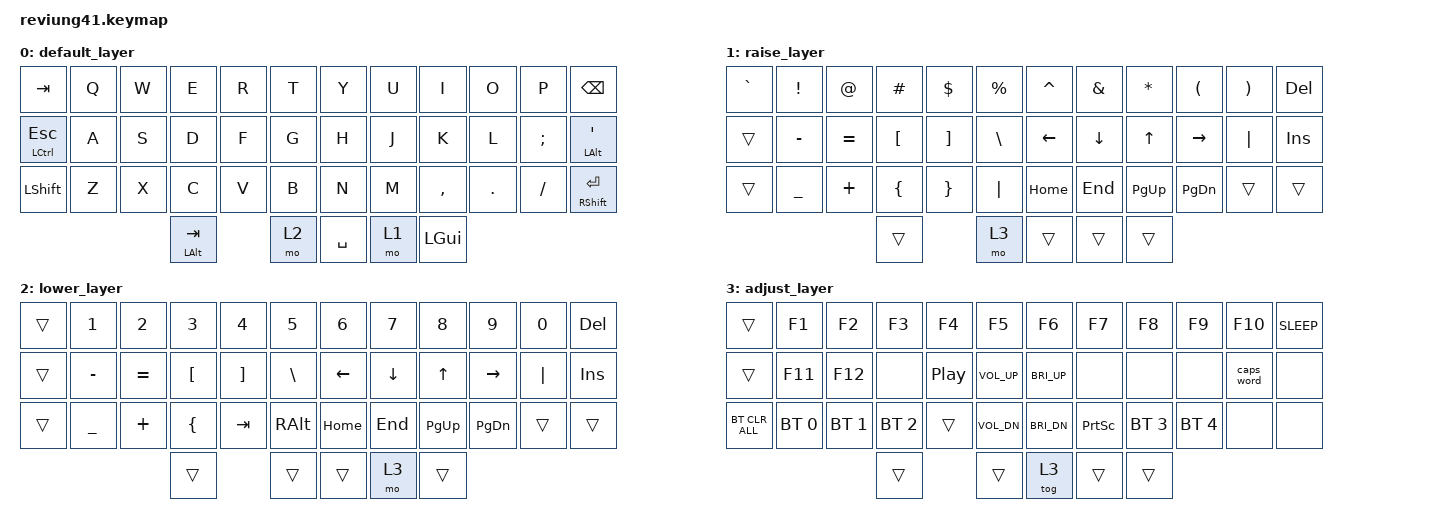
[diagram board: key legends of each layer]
/*
 * Copyright (c) 2020 The ZMK Contributors
 *
 * SPDX-License-Identifier: MIT
 */

#include <behaviors.dtsi>
#include <dt-bindings/zmk/keys.h>
#include <dt-bindings/zmk/bt.h>
#include <dt-bindings/zmk/rgb.h>

/ {

    behaviors {
        hm: balanced_homerow_mods {
            compatible = "zmk,behavior-hold-tap";
            label = "HOMEROW_MODS";
            #binding-cells = <2>;
            tapping-term-ms = <200>;    // <---[[moderate duration]]
            quick-tap-ms = <200>;
            flavor = "balanced";
            bindings = <&kp>, <&kp>;
        };
    };

    keymap {
                compatible = "zmk,keymap";

                default_layer {
// --------------------------------------   --------------------------------------------
// |  TAB |  Q  |  W  |  E  |  R  |  T  |   |  Y  |  U   |  I  |  O  |  P  |   BKSP    |
// | CTRL |  A  |  S  |  D  |  F  |  G  |   |  H  |  J   |  K  |  L  |  ;  |   ALT(')  |
// | SHFT |  Z  |  X  |  C  |  V  |  B  |   |  N  |  M   |  ,  |  .  |  /  | SHFT(RET) |
//                         | ALT(TAB) | LWR | SPC | RSE  | GUI |
                        bindings = <
   &kp TAB   &kp Q &kp W &kp E &kp R &kp T   &kp Y &kp U  &kp I     &kp O   &kp P    &kp BSPC
&mt LCTL ESC &kp A &kp S &kp D &kp F &kp G   &kp H &kp J  &kp K     &kp L   &kp SEMI &mt LALT SQT
   &kp LSHFT &kp Z &kp X &kp C &kp V &kp B   &kp N &kp M  &kp COMMA &kp DOT &kp FSLH &mt RSHFT RET
                        &mt LALT TAB  &mo 2 &kp SPACE &mo 1 &kp LGUI
                        >;
                };

                raise_layer {
// -------------------------------------   --------------------------------------------
// |  `  |  !  |  @  |  #  |  $  |  %  |   |  ^  |  &  |  *  |  (  |  )  |      DEL    |
// |CTRL |  -  |  =  |  [  |  ]  |  \  |   | LFT | DWN |  UP | RGT |     |      INS    |
// |SHFT |  _  |  +  |  {  |  }  | "|" |   | HOME| END | PGUP| PGDN|     |             |
//                       |     |     |    | ADJ |     |
                        bindings = <
&kp GRAVE &kp EXCL  &kp AT      &kp HASH &kp DLLR &kp PRCNT      &kp CARET &kp AMPS &kp ASTRK &kp LPAR  &kp RPAR  &kp DEL
   &trans &kp MINUS &kp EQUAL   &kp LBKT &kp RBKT &kp BSLH       &kp LEFT  &kp DOWN &kp UP    &kp RIGHT &kp PIPE  &kp INS
   &trans &kp UNDER &kp PLUS    &kp LBRC &kp RBRC &kp PIPE       &kp HOME  &kp END  &kp PG_UP &kp PG_DN &trans    &trans
                                 &trans      &mo 3     &trans      &trans     &trans
                        >;
                };


                lower_layer {
// ------------------------------------   ------------------------------------
// |    |  1  |  2  |  3  |  4  |  5  |   |  6  |  7  |  8  |  9  |  0  | DEL |
// |    |  -  |  =  |  [  |  ]  |  \  |   | LFT | DWN |  UP | RGT |     | INS |
// |    |  _  |  +  |  {  | TAB |RALT |   | HOME| END | PGUP| PGDN|     |     |
//                       |     | ADJ |     |    |     |
                        bindings = <
   &trans &kp N1    &kp N2    &kp N3    &kp N4    &kp N5        &kp N6    &kp N7    &kp N8    &kp N9    &kp N0    &kp DEL
   &trans &kp MINUS &kp EQUAL &kp LBKT  &kp RBKT  &kp BSLH      &kp LEFT  &kp DOWN  &kp UP    &kp RIGHT &kp PIPE  &kp INS
   &trans &kp UNDER &kp PLUS  &kp LBRC  &kp TAB   &kp RALT      &kp HOME  &kp END   &kp PG_UP &kp PG_DN &trans    &trans
                                &trans    &trans    &trans     &mo 3      &trans
                        >;
                };

                adjust_layer {
// --------------------------------------   -------------------------------------
// |    | F1  | F2   | F3  |  F4  | F5  |   | F6  | F7  | F8  | F9  | F10 | SLP |
// |    | F11 | F12  |     | PLAY | VOL+|   |BRI+ |     |     |     |CAPS |     |
// |    |BTCLR| BT0  | BT1 | BT2  | VOL-|   |BRI- |PSCRN|     |     |     |     |
//                       |     |     |     |     |     |
                        bindings = <
  &trans  &kp F1       &kp F2       &kp F3       &kp F4           &kp F5       &kp F6       &kp F7    &kp F8 &kp F9 &kp F10  &kp C_SLEEP
  &trans  &kp F11      &kp F12      &none        &kp C_PLAY_PAUSE &kp C_VOL_UP &kp C_BRI_UP &none     &none  &none  &caps_word  &none
  &bt BT_CLR_ALL &bt BT_SEL 0 &bt BT_SEL 1 &bt BT_SEL 2 &trans    &kp C_VOL_DN &kp C_BRI_DN &kp PSCRN &bt BT_SEL 3  &bt BT_SEL 4 &none       &none
                                 &trans      &trans       &tog 3        &trans      &trans
                        >;
                };
        };
};
